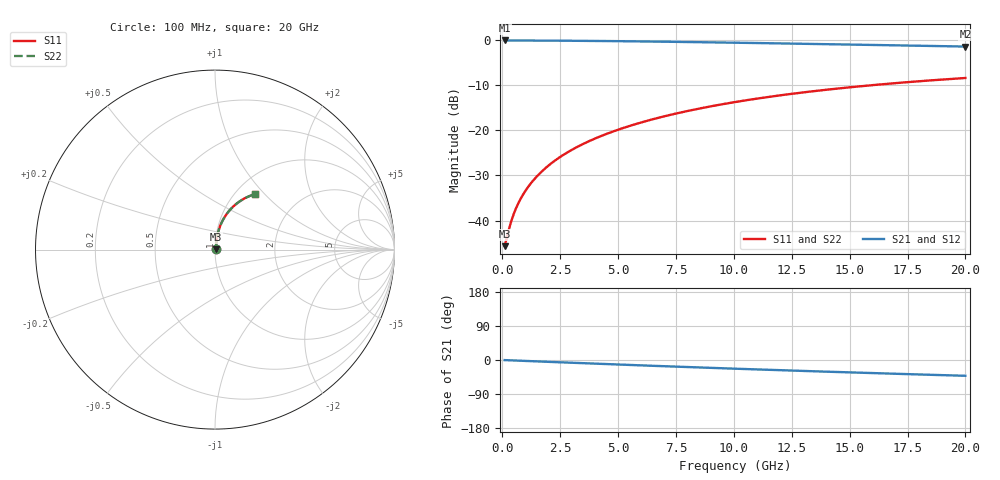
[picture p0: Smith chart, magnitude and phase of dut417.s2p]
! Touchstone file exported from HFSS 2024.1.0
!  File:  C:/UserFiles/LocalFiles/RDL_TSV_Batchsim/temp_RDL_top_417_1779675843.aedt
!  Generated:  10:26:25 AM May 25, 2026
!  Design:  RDL_top
!  Project:  temp_RDL_top_417_1779675843
!  Setup:  Setup1
!  Solution:  Sweep
! Variables:
!  dtsv = 10.80580581um
!  hbump = 3um
!  htsv = 81.99um
!  ldown = 100um
!  lrdl = 604.74um
!  p = 40
!  p1 = 40.39um
!  rhole = 1um
!  t = 450um
!  tdown = 3.915915916um
!  trdl = 2.67um
!  wdown = 15.38538539um
!  wrdl = 17.75um
# GHz S MA R 50.000000
! Terminal data exported
! Port[1] = Box2_T1
! Port[2] = Box2_T2
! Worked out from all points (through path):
!   200 points, 100 MHz to 20 GHz, reference 50 ohm
!   highest |S21| = -0.04 dB at 100 MHz (marker M1); lowest = -1.4 dB at 20 GHz (marker M2)
!   group delay of S21, straight-line fit = 5.77 ps
!   lowest |S11| = -45.7 dB at 100 MHz (marker M3), VSWR 1.01, Z = 50.5 + j0.224 ohm
!   |S11| at or under -10 dB: start of sweep to 15.89 GHz
!   |S22| runs from -45.7 to -8.4 dB; largest |S21 - S12| = 4.1e-15
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0.1  0.005199 25.3  0.9953 -0.3  0.9953 -0.3  0.005199 25.3
! Gamma 0 0 0 0
! Port Impedance 50 0 50 0
0.3  0.008231 52.6  0.995 -0.8  0.995 -0.8  0.008231 52.6
0.4  0.01006 59.0  0.9948 -1.0  0.9948 -1.0  0.01006 59.0
0.5  0.01193 63.2  0.9946 -1.3  0.9946 -1.3  0.01193 63.2
0.6  0.01381 66.2  0.9943 -1.5  0.9943 -1.5  0.01381 66.2
0.7  0.0157 68.6  0.9941 -1.7  0.9941 -1.7  0.0157 68.5
0.9  0.01949 71.9  0.9937 -2.2  0.9937 -2.2  0.01949 71.9
1.2  0.02523 75.1  0.9931 -3.0  0.9931 -3.0  0.02523 75.1
1.4  0.0291 76.5  0.9927 -3.4  0.9927 -3.4  0.0291 76.5
1.7  0.03495 78.0  0.9919 -4.2  0.9919 -4.2  0.03495 78.0
2.2  0.04482 79.4  0.9905 -5.4  0.9905 -5.4  0.04482 79.4
2.8  0.05681 80.2  0.9884 -6.8  0.9884 -6.8  0.05681 80.2
3.5  0.07096 80.4  0.9855 -8.4  0.9855 -8.4  0.07096 80.4
4.2  0.08527 80.2  0.982 -10.1  0.982 -10.1  0.08527 80.2
5  0.1018 79.6  0.9775 -11.9  0.9775 -11.9  0.1018 79.5
5.9  0.1205 78.6  0.9718 -14.0  0.9718 -14.0  0.1205 78.6
6.8  0.1393 77.4  0.9656 -16.0  0.9656 -16.0  0.1392 77.4
8.4  0.1725 74.9  0.9535 -19.5  0.9535 -19.5  0.1725 74.9
10.1  0.2073 72.0  0.9395 -23.1  0.9395 -23.1  0.2073 72.0
13.4  0.2716 66.0  0.9108 -29.7  0.9108 -29.7  0.2716 65.9
16.7  0.33 60.0  0.8812 -35.8  0.8812 -35.8  0.3299 59.9
20  0.3815 54.2  0.8518 -41.7  0.8518 -41.7  0.3814 54.1
